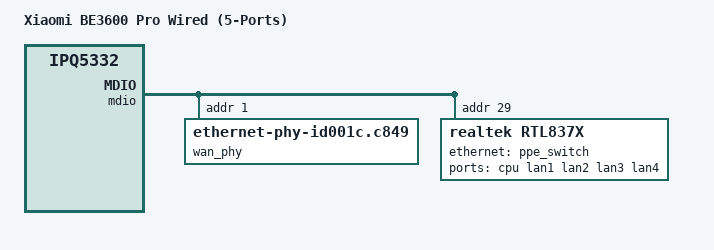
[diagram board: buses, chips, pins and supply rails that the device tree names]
// SPDX-License-Identifier: (GPL-2.0+ OR BSD-3-Clause)

/dts-v1/;

#include "ipq5332-be3600-pro-wired-common.dtsi"

/ {
	model = "Xiaomi BE3600 Pro Wired (5-Ports)";
	compatible = "xiaomi,be3600-pro-wired-p5", "qcom,ipq5332";
};

&mdio {
	wan_phy: ethernet-phy@1 {
		compatible = "ethernet-phy-id001c.c849";
		reg = <1>;
	};

	rtl837x: rtl837x-dsa@29 {
		compatible = "realtek,rtl837x";
		reg = <29>;
		#address-cells = <1>;
		#size-cells = <0>;
		realtek,preserve-boot-config;
		realtek,rtl8372n-led-init;
		rtl837x,sds1mode = "10g-usxg";

		ports {
			#address-cells = <1>;
			#size-cells = <0>;

			port@8 {
				reg = <8>;
				label = "cpu";
				ethernet = <&ppe_switch>;
				phy-mode = "usxgmii";

				fixed-link {
					speed = <10000>;
					full-duplex;
				};
			};

			port@7 {
				reg = <7>;
				label = "lan1";
				phy-mode = "internal";
			};

			port@6 {
				reg = <6>;
				label = "lan2";
				phy-mode = "internal";
			};

			port@5 {
				reg = <5>;
				label = "lan3";
				phy-mode = "internal";
			};

			port@4 {
				reg = <4>;
				label = "lan4";
				phy-mode = "internal";
			};
		};
	};
};

&qcom_ppe {
	ethernet-ports {
		ppe_switch: port@1 {
			fixed-link {
				speed = <10000>;
				full-duplex;
			};
		};

		ppe_wan: port@2 {
			label = "wan";
			phy-handle = <&wan_phy>;
		};
	};
};
